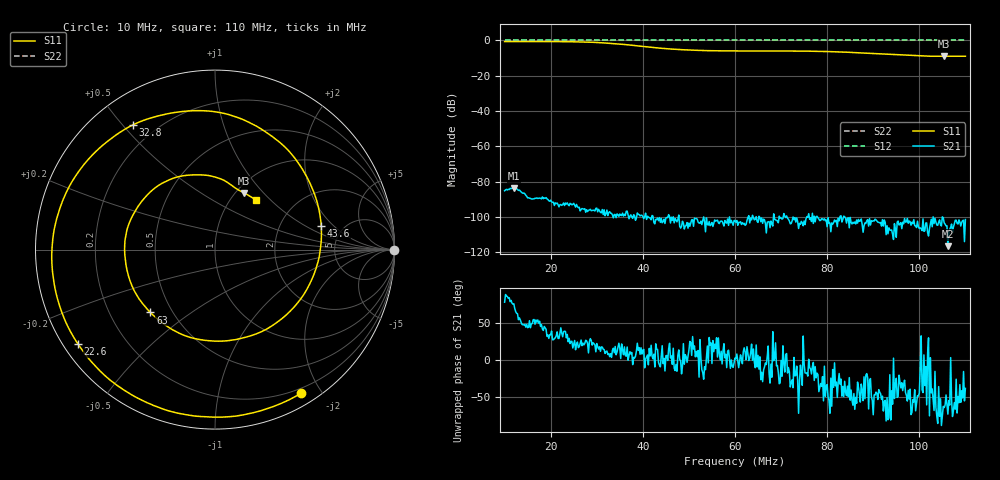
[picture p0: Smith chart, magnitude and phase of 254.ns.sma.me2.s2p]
! Anritsu VNA Master:  Model: MS2036C/10/77
! SN:  1601066
! /card0/usr/254.ns.sma.me2.s2p
! Existing Calibration Information:
! TYPE:  Current Settings,  Active Cal Settings
! TIME:  12/20/2017 01:56:26 PM,  12/20/2017 01:40:30 PM
! INTERNAL TEMP:  47.0 C,  46.0 C
! # POINTS:  501,  501
! START FREQ:  10.000 MHz,  10.000 MHz
! STOP FREQ:  110.000 MHz,  110.000 MHz
! SOURCE POWER:  High,  High
! IFBW:  100 Hz,  100 Hz
! AVG FACTOR:  1 ,  1
! REF PLANE 1:  0 mm,  0 mm
! REF PLANE 2:  0 mm,  0 mm
! CAL TYPE:  Full S11,  Full S11
! CAL METHOD:  SOLT,  SOLT
! CAL LINE TYPE:  Coax,  Coax
! DUT PORT 1:  N-Conn(F),  N-Conn(F)
! DUT PORT 2:  K-Conn(F),  K-Conn(F)
! CAL STATUS:  OK: Accuracy High,  --
# GHZ S DB R 50.0
! FREQ.GHZ  S11DB  S11A  S21DB  S21A  S12DB  S12A  S22DB  S22A
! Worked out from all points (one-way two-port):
!   501 points, 10 MHz to 110 MHz, reference 50 ohm
!   highest |S21| = -83.73 dB at 12 MHz (marker M1); lowest = -116.6 dB at 106.2 MHz (marker M2)
!   lowest |S11| = -9.0 dB at 105.4 MHz (marker M3), VSWR 2.10, Z = 54.5 + j39.3 ohm
!   |S11| at or under -10 dB: nowhere
!   |S22| runs from 0.0 to 0.0 dB; largest |S21 - S12| = 1
!   S11 on the Smith chart (normalised r, x): 10 MHz: 0.15, -1.76; 22.6 MHz: 0.04, -0.31; 32.8 MHz: 0.12, +0.53; 43.6 MHz: 3.44, +1.43; 63 MHz: 0.38, -0.36; 110 MHz: 1.30, +0.82
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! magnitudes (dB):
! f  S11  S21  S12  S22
! 10 MHz  -0.6  -85.2  0.0  0.0
! 12 MHz  -0.6  -83.7  0.0  0.0
! 22.6 MHz  -0.7  -93.1  0.0  0.0
! 26.8 MHz  -0.8  -95.3  0.0  0.0
! 29.6 MHz  -1.1  -96.7  0.0  0.0
! 32.8 MHz  -1.6  -97.1  0.0  0.0
! 36.6 MHz  -2.4  -96.8  0.0  0.0
! 43.4 MHz  -4.3  -102.2  0.0  0.0
! 43.6 MHz  -4.3  -100.4  0.0  0.0
! 46.8 MHz  -5.0  -103.4  0.0  0.0
! 50.6 MHz  -5.5  -101.7  0.0  0.0
! 54 MHz  -5.8  -104.3  0.0  0.0
! 60 MHz  -5.9  -102.0  0.0  0.0
! 63 MHz  -6.0  -99.3  0.0  0.0
! 73 MHz  -6.0  -100.5  0.0  0.0
! 76.8 MHz  -6.1  -98.0  0.0  0.0
! 82.6 MHz  -6.5  -102.3  0.0  0.0
! 93.4 MHz  -7.8  -106.2  0.0  0.0
! 101 MHz  -8.8  -108.2  0.0  0.0
! 105.4 MHz  -9.0  -103.4  0.0  0.0
! 106.2 MHz  -9.0  -116.6  0.0  0.0
! 110 MHz  -8.9  -101.5  0.0  0.0
